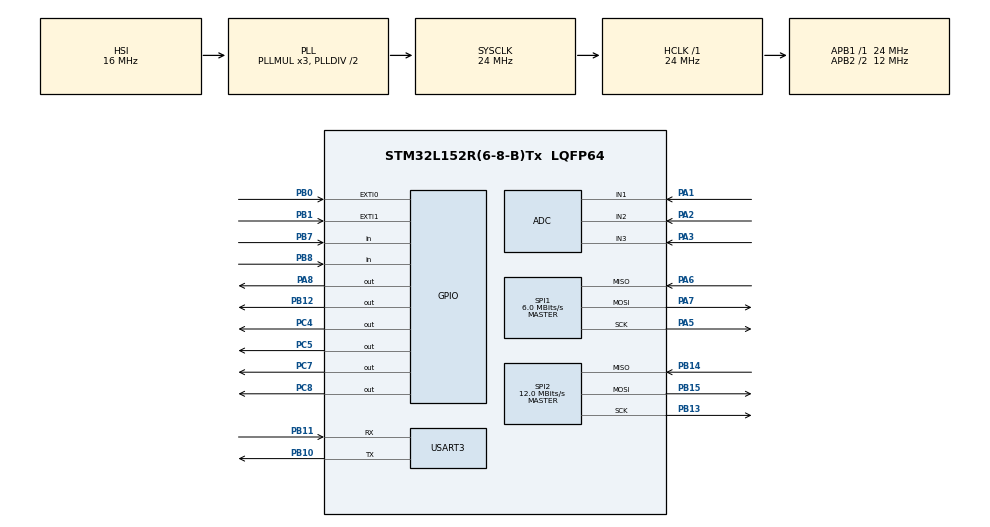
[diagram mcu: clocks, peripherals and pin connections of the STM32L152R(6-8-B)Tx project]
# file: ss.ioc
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ADC.Channel-0\#ChannelRegularConversion=ADC_CHANNEL_1
ADC.ContinuousConvMode=ENABLE
ADC.LowPowerAutoPowerOff=ADC_AUTOPOWEROFF_IDLE_DELAY_PHASES
ADC.LowPowerAutoWait=ADC_AUTOWAIT_UNTIL_DATA_READ
ADC.NbrOfConversionFlag=1
ADC.Rank-0\#ChannelRegularConversion=1
ADC.SamplingTime-0\#ChannelRegularConversion=ADC_SAMPLETIME_4CYCLES
IWDG.Prescaler=IWDG_PRESCALER_256
IWDG.Reload=4095
Mcu.Family=STM32L1
Mcu.Name=STM32L152R(6-8-B)Tx
Mcu.Package=LQFP64
NVIC.EXTI0_IRQn=true\:0\:0\:false\:false\:true\:true
NVIC.EXTI1_IRQn=true\:0\:0\:false\:false\:true\:true
NVIC.PriorityGroup=NVIC_PRIORITYGROUP_4
NVIC.RTC_WKUP_IRQn=true\:0\:0\:false\:false\:true\:true
NVIC.TIM2_IRQn=true\:0\:0\:false\:false\:true\:true
NVIC.TIM4_IRQn=true\:0\:0\:false\:false\:true\:true
NVIC.USART3_IRQn=true\:0\:0\:false\:false\:true\:true
PA1.Mode=IN1
PA1.Signal=ADC_IN1
PA2.Mode=IN2
PA2.Signal=ADC_IN2
PA3.Mode=IN3
PA3.Signal=ADC_IN3
PA5.Mode=Full_Duplex_Master
PA5.Signal=SPI1_SCK
PA6.Mode=Full_Duplex_Master
PA6.Signal=SPI1_MISO
PA7.Mode=Full_Duplex_Master
PA7.Signal=SPI1_MOSI
PA8.PinState=GPIO_PIN_SET
PA8.Signal=GPIO_Output
PB0.GPIO_ModeDefaultEXTI=GPIO_MODE_IT_FALLING
PB0.GPIO_PuPd=GPIO_PULLUP
PB0.Signal=GPXTI0
PB1.GPIO_ModeDefaultEXTI=GPIO_MODE_IT_FALLING
PB1.GPIO_PuPd=GPIO_PULLUP
PB1.Signal=GPXTI1
PB10.Mode=Asynchronous
PB10.Signal=USART3_TX
PB11.Mode=Asynchronous
PB11.Signal=USART3_RX
PB12.Signal=GPIO_Output
PB13.Mode=Full_Duplex_Master
PB13.Signal=SPI2_SCK
PB14.Mode=Full_Duplex_Master
PB14.Signal=SPI2_MISO
PB15.Mode=Full_Duplex_Master
PB15.Signal=SPI2_MOSI
PB7.GPIO_PuPd=GPIO_PULLUP
PB7.Signal=GPIO_Input
PB8.GPIO_PuPd=GPIO_PULLUP
PB8.Signal=GPIO_Input
PC14-OSC32_IN.Mode=LSE-External-Oscillator
PC14-OSC32_IN.Signal=RCC_OSC32_IN
PC15-OSC32_OUT.Mode=LSE-External-Oscillator
PC15-OSC32_OUT.Signal=RCC_OSC32_OUT
PC4.PinState=GPIO_PIN_SET
PC4.Signal=GPIO_Output
PC5.Signal=GPIO_Output
PC7.GPIO_PuPd=GPIO_PULLUP
PC7.Signal=GPIO_Output
PC8.GPIO_PuPd=GPIO_PULLUP
PC8.Signal=GPIO_Output
ProjectManager.HeapSize=0x200
ProjectManager.StackSize=0x400
ProjectManager.TargetToolchain=MDK-ARM V5
RCC.AHBFreq_Value=24000000
RCC.APB1Freq_Value=24000000
RCC.APB1TimFreq_Value=24000000
RCC.APB2CLKDivider=RCC_HCLK_DIV2
RCC.APB2Freq_Value=12000000
RCC.APB2TimFreq_Value=24000000
RCC.HCLKFreq_Value=24000000
RCC.HSE_VALUE=24000000
RCC.HSI_VALUE=16000000
RCC.MSI_VALUE=2097000
RCC.SYSCLKFreq_VALUE=24000000
RCC.SYSCLKSource=RCC_SYSCLKSOURCE_PLLCLK
RCC.VCOOutputFreq_Value=48000000
RTC.WakeUpClock-WakeUp=RTC_WAKEUPCLOCK_CK_SPRE_16BITS
RTC.WakeUpCounter-WakeUp=5
SPI1.BaudRatePrescaler=SPI_BAUDRATEPRESCALER_2
SPI1.CLKPhase=SPI_PHASE_2EDGE
SPI1.CLKPolarity=SPI_POLARITY_HIGH
SPI1.CalculateBaudRate=6.0 MBits/s
SPI1.Direction=SPI_DIRECTION_2LINES
SPI1.Mode=SPI_MODE_MASTER
SPI1.VirtualType=VM_MASTER
SPI2.CalculateBaudRate=12.0 MBits/s
SPI2.Direction=SPI_DIRECTION_2LINES
SPI2.Mode=SPI_MODE_MASTER
SPI2.VirtualType=VM_MASTER
TIM2.Period=1599
TIM2.Prescaler=9999
TIM4.ClockDivision=TIM_CLOCKDIVISION_DIV1
TIM4.Period=2000
TIM4.Prescaler=1599
USART3.VirtualMode=VM_ASYNC
VP_IWDG_VS_IWDG.Mode=IWDG_Activate
VP_RTC_VS_RTC_Activate.Mode=RTC_Enabled
VP_RTC_VS_RTC_Calendar.Mode=RTC_Calendar
VP_RTC_VS_RTC_WakeUp_intern.Mode=WakeUp
VP_TIM2_VS_ClockSourceINT.Mode=Internal
VP_TIM4_VS_ClockSourceINT.Mode=Internal
board=custom

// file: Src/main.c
/* USER CODE BEGIN Header */
/**
  ******************************************************************************
  * @file           : main.c
  * @brief          : Main program body
  ******************************************************************************
  ** This notice applies to any and all portions of this file
  * that are not between comment pairs USER CODE BEGIN and
  * USER CODE END. Other portions of this file, whether
  * inserted by the user or by software development tools
  * are owned by their respective copyright owners.
  *
  * COPYRIGHT(c) 2019 STMicroelectronics
  *
  * Redistribution and use in source and binary forms, with or without modification,
  * are permitted provided that the following conditions are met:
  *   1. Redistributions of source code must retain the above copyright notice,
  *      this list of conditions and the following disclaimer.
  *   2. Redistributions in binary form must reproduce the above copyright notice,
  *      this list of conditions and the following disclaimer in the documentation
  *      and/or other materials provided with the distribution.
  *   3. Neither the name of STMicroelectronics nor the names of its contributors
  *      may be used to endorse or promote products derived from this software
  *      without specific prior written permission.
  *
  * THIS SOFTWARE IS PROVIDED BY THE COPYRIGHT HOLDERS AND CONTRIBUTORS "AS IS"
  * AND ANY EXPRESS OR IMPLIED WARRANTIES, INCLUDING, BUT NOT LIMITED TO, THE
  * IMPLIED WARRANTIES OF MERCHANTABILITY AND FITNESS FOR A PARTICULAR PURPOSE ARE
  * DISCLAIMED. IN NO EVENT SHALL THE COPYRIGHT HOLDER OR CONTRIBUTORS BE LIABLE
  * FOR ANY DIRECT, INDIRECT, INCIDENTAL, SPECIAL, EXEMPLARY, OR CONSEQUENTIAL
  * DAMAGES (INCLUDING, BUT NOT LIMITED TO, PROCUREMENT OF SUBSTITUTE GOODS OR
  * SERVICES; LOSS OF USE, DATA, OR PROFITS; OR BUSINESS INTERRUPTION) HOWEVER
  * CAUSED AND ON ANY THEORY OF LIABILITY, WHETHER IN CONTRACT, STRICT LIABILITY,
  * OR TORT (INCLUDING NEGLIGENCE OR OTHERWISE) ARISING IN ANY WAY OUT OF THE USE
  * OF THIS SOFTWARE, EVEN IF ADVISED OF THE POSSIBILITY OF SUCH DAMAGE.
  *
  ******************************************************************************
  */
/* USER CODE END Header */

#include "main.h"

/* USER CODE BEGIN Includes */
#include "rtc.h"
#include "m25p64.h"
#include "Flash_BSP.h"
#include<string.h>
#define GLOBALS
#include "global.h"
#include "adc.h"
#include "other.h"
#include "CC1110.h"
#include "spi.h"
#include "flash.h"
#include "infrared.h"
#include "oled.h"
#define Select_OLED       HAL_GPIO_WritePin(GPIOB, GPIO_PIN_2, GPIO_PIN_RESET);

/***************************预编译注意*****************************
在编译选择传感器类型时，在编译器Options For Target里的宏定义里修改
/***************************传感器变量相关****************************/
extern uint32_t CV_Value[5];
//***************************传感器编译相关**************************/
#ifdef  Liceng
uint8_t Senor_Type=0xE1;
#elif   Maogan
uint8_t Senor_Type=0xE2;
#elif   Maosuo
uint8_t Senor_Type=0xE3;
#elif   Weiyan
uint8_t Senor_Type=0xE4;
#elif   Yali
uint8_t Senor_Type=0xE5;
#endif
extern void LCD_P6x8Str(unsigned char x, unsigned char y,unsigned char ch[]);
extern void LCD_P8x16Str(unsigned char x, unsigned char y,unsigned char ch[]);
extern void LCD_P16x16Ch(unsigned char x, unsigned char y, unsigned char N, const unsigned char * ch);

/**********************传感器数据存取相关**************************/
uint32_t Flash_Read_Buff[4],Flash_Write_Buff[4];
uint32_t ID_Read_Buff[4],ID_Write_Buff[4];
/**************************定时计数相关****************************/
extern uint8_t Timer;
/**************************红外相关*************************/
uint8_t  SET_START,curse_ok;
uint8_t curse=0x28,curse_base=0x04,curse_tmp=0x00;
uint32_t k_code=0x00000000;
uint8_t Senor_IDNUM_Temp=0;
SENOR *pObj;
typedef void MENU_CALLBK(SENOR *pObj);
void Infrared_Fun(SENOR *pObj,MENU_CALLBK *_cbm,MENU_CALLBK *_cbo);
extern unsigned char Infrared_Status;
/**************************功能函数*************************/
extern WPStatus CC1100_WAKEUP_Flag;
extern int xinxi;
extern WPStatus PD_WAKEUP_Flag;
void SendMsg_Int(CC1110Tx_Msg *pMsg,SENOR *pObj);
void AD_Smapling_Function(SENOR *pObj);
void PD_WAKEUP_Int(void);
void AD_Display_Function(SENOR *pObj);
void SPI_ConfigurationOLED(void);
SENOR SenMsg;
extern unsigned char fd0[];
extern unsigned char fd1[];
extern unsigned char fd2[];
extern unsigned char BMP[];
char r[5];
char CV1[5];
char CV11[5];
char CV2[5];
char CV22[5];
char CV3[5];
char CV33[5];
uint32_t VVV1;
uint32_t VVV11;
uint32_t VVV2;
uint32_t VVV22;
uint32_t VVV3;
uint32_t VVV33;
void CC1110_Sendd(void);
void CC1110_Senddata(void);
void CC1110_Sendnum(void);
void CC1110_Senddd(void);
void CC1110_Sendbianhao(void);
void peizhiwuxian(void);
extern uint8_t vid1,vid2,vid3,vid4,oldid,newid;
//数据显示转换部分
char *itoa(int value, char *string, int radix)
{
    int     i, d;
    int     flag = 0;
    char    *ptr = string;
    /* This implementation only works for decimal numbers. */
    if (radix != 10)
    {
        *ptr = 0;
        return string;
    }
    if (!value)
    {
        *ptr++ = 0x30;
        *ptr = 0;
        return string;
    }
    /* if this is a negative value insert the minus sign. */
    if (value < 0)
    {
        *ptr++ = '-';

        /* Make the value positive. */
        value *= -1;
    }
    for (i = 10000; i > 0; i /= 10)
    {
        d = value / i;

        if (d || flag)
        {
            *ptr++ = (char)(d + 0x30);
            value -= (d * i);
            flag = 1;
        }
    }
    /* Null terminate the string. */
    *ptr = 0;
    return string;
} /* NCL_Itoa */
/**************************************************************
函数：void SendMsg_Int(CC1110Tx_Msg *pMsg,SENOR *pObj)
功能：无线发送初始信息
**************************************************************/
void SendMsg_Int(CC1110Tx_Msg *pMsg,SENOR *pObj)
{
    int j;
    memset(pMsg->Invalid,0xFE,5);
    pMsg->Start_Flag=0xAA;
    pMsg->ID=pObj->Senor_ID;
    pMsg->Type=Senor_Type;
    pMsg->Channel=pObj->Senor_Num;
    pMsg->Battery_Power =Battery_Monitor();
    pMsg->End_Flag=0x55;
    FLASH_Read(((uint32_t)0x08080020),((uint32_t)0x08080030),CV_Value);
    for(j=0; j<4; j++)
    {
    //    pMsg->T_Data_H[j]=(uint8_t)CV_Value[j]>>8;
    //    pMsg->T_Data_L[j]=(uint8_t)CV_Value[j]&0x00000ff;
			pMsg->T_Data_H[j]=0x00;//55
			pMsg->T_Data_L[j]=0x04;//99
    }
}
/* USER CODE END Includes */

/* USER CODE BEGIN PD */
uint32_t  fac_id;
unsigned char txbuffer[16];
unsigned char rxbuffer[16];
u8 *SpiFlashReadBuffer;
extern unsigned char rtc_wakeup_flag;
/* USER CODE END PD */

/* USER CODE BEGIN PM */
extern unsigned char M25PXX_BUFFER[1024];
extern uint32_t WriteAddressPostion;
RTC_SetTypeDef RTC_SetStructure;
RTC_TimeDateTypeDef  RTC_TimeDateStructure2;
/* USER CODE END PM */

ADC_HandleTypeDef hadc;

IWDG_HandleTypeDef hiwdg;

RTC_HandleTypeDef hrtc;

SPI_HandleTypeDef hspi1;
SPI_HandleTypeDef hspi2;

TIM_HandleTypeDef htim2;
TIM_HandleTypeDef htim4;

UART_HandleTypeDef huart3;

void SystemClock_Config(void);
static void MX_GPIO_Init(void);
static void MX_SPI1_Init(void);
static void MX_RTC_Init(void);
static void MX_IWDG_Init(void);
static void MX_TIM2_Init(void);
static void MX_TIM4_Init(void);
static void MX_ADC_Init(void);
static void MX_USART3_UART_Init(void);
static void MX_SPI2_Init(void);

/* USER CODE BEGIN 0 */
u32 addr;
/* USER CODE END 0 */

int main(void)
{
  /* USER CODE BEGIN 1 */
	u16 j,i;

  /* USER CODE END 1 */

  /* MCU Configuration--------------------------------------------------------*/

  /* Reset of all peripherals, Initializes the Flash interface and the Systick. */
  HAL_Init();

  /* Configure the system clock */
  SystemClock_Config();

  /* Initialize all configured peripherals */
  MX_GPIO_Init();
  MX_SPI1_Init();
  MX_RTC_Init();
  //MX_IWDG_Init();
  MX_TIM2_Init();
  MX_TIM4_Init();
  MX_ADC_Init();
  MX_USART3_UART_Init();
  MX_SPI2_Init();
  /* USER CODE BEGIN 2 */
	//HAL_PWR_EnterSTOPMode
	CC1110Tx_Msg TxMessage;
	// PWR_FastWakeUpCmd(ENABLE);//唤醒片内正常工作电源
	HAL_PWREx_EnableFastWakeUp();
	__HAL_RCC_PWR_CLK_ENABLE();
	//RCC_APB1PeriphClockCmd(RCC_APB1Periph_PWR, ENABLE);//片内电源管理的时钟---使能
	HAL_PWREx_EnableUltraLowPower();//配置低电源使能
	CC1100_WAKEUP_Flag=Low;
	PD_WAKEUP_Flag=Low;

	NVIC_Config();
	HAL_RCC_DeInit();
	//EnterLowPower();
	SenMsg.Senor_ID=1;
	SenMsg.Senor_Num=4;
	ControlGPIO_Initt();
	//GPIO_SetBits(GPIOC,GPIO_Pin_8);//拉高
	//GPIO_ResetBits(GPIOC,GPIO_Pin_7);//拉低
	HAL_GPIO_WritePin(GPIOC, GPIO_PIN_8, GPIO_PIN_SET);
	HAL_GPIO_WritePin(GPIOC, GPIO_PIN_7, GPIO_PIN_RESET);
	SPI_Configuration();
	Select_OLED

	ID_Write_Buff[0]=0x01;
	ID_Write_Buff[1]=0x00;
	ID_Write_Buff[2]=0x40;
	ID_Write_Buff[3]=0x0B;
	FLASH_Write(((uint32_t)0x08080040),((uint32_t)0x08080050),ID_Write_Buff);

	Flash_Write_Buff[0]=0x000000AA;
	Flash_Write_Buff[1]=0x0B;
	Flash_Write_Buff[2]=pObj->Senor_Num;
	Flash_Write_Buff[3]=0x00000055;
	FLASH_Write(((uint32_t)0x08080000),((uint32_t)0x08080010),Flash_Write_Buff);

	//设置时间为2019年1月2日第3周，上午10时12分4秒

	RTC_SetStructure.year =0x19;
	RTC_SetStructure.month = 0x01;
	RTC_SetStructure.date = 0x02;
	RTC_SetStructure.week = 0x03;
	RTC_SetStructure.hour = 0x10;
	RTC_SetStructure.minute =0x12;
	RTC_SetStructure.second =0x04;
	RTC_SetStructure.wakeup_time = 0x05;//以秒为单位，当前为5s
	SYS_RTCInit(RTC_SetStructure);
	HAL_GPIO_WritePin(GPIOC, GPIO_PIN_4, GPIO_PIN_SET);
	while(fac_id!=M25P32)
	fac_id=M25PXX_ReadID();
	for(i=1;i<17;i++)
	txbuffer[i-1]=i;
	// txbuffer[15] = 0xa5;
	//M25PXX_Erase_Chip();//测试时用，正常工作时屏蔽该功能
  /* USER CODE END 2 */

  /* Infinite loop */
  while (1)
  {

    /* USER CODE BEGIN 3 */
		RTC_TimeDateStructure2=RTC_GetTimeDate();
		txbuffer[0] = RTC_TimeDateStructure2.year;
		txbuffer[1] = RTC_TimeDateStructure2.month;
		txbuffer[2] = RTC_TimeDateStructure2.date;
		txbuffer[3] = RTC_TimeDateStructure2.hour;
		txbuffer[4] = RTC_TimeDateStructure2.minute;
		txbuffer[5] = RTC_TimeDateStructure2.second;

    //memcpy(&txbuffer[6],adcvalue,3);	//拷贝adc数据到buffer中

		/***************************************************************************************
		    spi flash可以进行扇区擦除和整片擦除操作
		    spi flash存储结构：
														sectors counts：64
														sector：256pages
														page：256 bytes

				验证spi flash通信是否正常,地址范围0-0x3fffff
				WriteAddressPostion表明当前spi flash存储数据的数量，该变量保存在cpu内部flash中
				M25PXX_BUFFER,从spi flash中读取的数据按顺序保存在该数组中
		****************************************************************************************/

		HAL_IWDG_Refresh(&hiwdg);
		SPI_FLASH_Write(txbuffer,0,9);//地址可以不指定，驱动中地址自动递增
		if( Read_AddressWrite()>=0x400000)//flash存满，采取整片擦除操作
		{
			M25PXX_Erase_Chip();
			WriteAddressPostion	= 0;
      //增加内部flash写函数保存WriteAddressPostion
		}
		SPI_FLASH_READ(SpiFlashReadBuffer,WriteAddressPostion,9);//读spi flash数据缓存在M25PXX_BUFFER中

//		for(j=0;j<64;j++)
//		{
//			for(i=0;i<256;i++)
//			{
//				SPI_FLASH_READ(SpiFlashReadBuffer,addr,16);
//				SPI_FLASH_Write(txbuffer,addr,16);
//				SPI_FLASH_READ(SpiFlashReadBuffer,addr,16);
//				addr = addr +256;
//			}
//			M25PXX_Erase_Sector(i*256*256);
//
//		}

		EnterLowPower();

		//Wake_Config();
		Bsp_Config();
		//PD_WAKEUP_Flag=Low;

		/******************初始读取flash 传感器ID和探头数量*********************/
		FLASH_Read(((uint32_t)0x08080000),((uint32_t)0x08080010),Flash_Read_Buff);

		if(*Flash_Read_Buff==0x000000AA&&*(Flash_Read_Buff+3)==0x00000055)
		{
			SenMsg.Senor_ID=*(Flash_Read_Buff+1);
			SenMsg.Senor_Num=*(Flash_Read_Buff+2);
		}
		/*********如果是无光则发送 发送后无线模块进入待机，主板开始采集存储后待机*******/
		if((PD_WAKEUP_Flag<<1|CC1100_WAKEUP_Flag)==1)
		{
			PD_WAKEUP_Int();
			CC1110_Config((uint32_t)115200);
			SendMsg_Int(&TxMessage,&SenMsg);
			CC1110_Send_Flag=1;
			if(CC1110_Send_Flag!=Low)
			{
				if(xinxi==1)
				{
				//CC1110_Sendd();
					xinxi=0;
				}
				CC1110_Send_Flag=Low;
			}

			AD_Smapling_Function(&SenMsg);
			CC1100_WAKEUP_Flag=Low;
			PD_WAKEUP_Flag=Low;
			//ControlGPIO_Init();
			HAL_GPIO_WritePin(GPIOC, GPIO_PIN_8, GPIO_PIN_SET);
			//GPIO_SetBits(GPIOC,GPIO_Pin_8);
			//delay_ms(200);delay_ms(200);
		}
		else if((PD_WAKEUP_Flag<<1|CC1100_WAKEUP_Flag)==2)//||rtc_wakeup_flag
		{
			PD_WAKEUP_Int();
			Timer=0;
			SPI_Configuration();
			Select_OLED

			LCD_Init();
			LCD_CLS();
			LCD_P16x16Ch(36,0,2,fd0);
			FLASH_Read(((uint32_t)0x08080000),((uint32_t)0x08080010),Flash_Read_Buff);
			FLASH_Read(((uint32_t)0x08080020),((uint32_t)0x08080030),CV_Value);

			AD_Smapling_Function(&SenMsg);
			SenMsg.Senor_ID=Flash_Read_Buff[1];
			pObj->Senor_ID=SenMsg.Senor_ID;
			Senor_IDNUM_Temp=pObj->Senor_ID;
			*itoa(Senor_IDNUM_Temp,r,10);//
			LCD_P8x16Str(86,0,r);
			LCD_P16x16Ch(0,3,8,fd1);

			VVV1=CV_Value[0]/10;
			VVV11=CV_Value[0]%10;
			*itoa(VVV1,CV1,10);
			if(VVV1>9)
			{
				LCD_P8x16Str(18,6,CV1);
				LCD_P6x8Str(34,7,".");
				*itoa(VVV11,CV11,10);
				LCD_P8x16Str(39,6,CV11);
			}
			else
			{
				LCD_P8x16Str(21,6,CV1);
				LCD_P6x8Str(29,7,".");
				*itoa(VVV11,CV11,10);
				LCD_P8x16Str(34,6,CV11);
			}

			VVV2=CV_Value[1]/10;
			VVV22=CV_Value[1]%10;
			*itoa(VVV2,CV2,10);//
			if(VVV2>9)
			{
				LCD_P8x16Str(81,6,CV2);
				LCD_P6x8Str(97,7,".");
				*itoa(VVV22,CV22,10);
				LCD_P8x16Str(102,6,CV22);
			}
			else
			{
				LCD_P8x16Str(84,6,CV2);
				LCD_P6x8Str(92,7,".");
				*itoa(VVV22,CV22,10);
				LCD_P8x16Str(97,6,CV22);
			}

			//           VVV3=CV_Value[2]/10;
			//					 VVV33=CV_Value[2]%10;
			//           *itoa(VVV3,CV3,10);//
			//    			 if(VVV3>9)
			//						{
			//              LCD_P8x16Str(99,6,CV3);
			//					    LCD_P6x8Str(115,7,".");
			//					    *itoa(VVV33,CV33,10);
			//					    LCD_P8x16Str(120,6,CV33);
			//						}
			//					else
			//					  {
			//						  LCD_P8x16Str(102,6,CV3);
			//					    LCD_P6x8Str(110,7,".");
			//					    *itoa(VVV33,CV33,10);
			//					    LCD_P8x16Str(115,6,CV33);
			//						}

			delay_ms(200);delay_ms(200);delay_ms(200);delay_ms(200);delay_ms(200);delay_ms(200);
			delay_ms(200);delay_ms(200);delay_ms(200);delay_ms(200);delay_ms(200);delay_ms(200);

			//AD_Display_Function(&SenMsg);
			PD_WAKEUP_Flag=Low;
			CC1100_WAKEUP_Flag=Low;
			LCD_CLS();
			Power_Control(Power_OFF);        //关闭传感器电源
			//LED_Display_Clear();             //清屏
			LED_Control(Power_OFF);          //关闭数码管电源
		}
	}
  /* USER CODE END 3 */
}

void SystemClock_Config(void)
{
  RCC_OscInitTypeDef RCC_OscInitStruct = {0};
  RCC_ClkInitTypeDef RCC_ClkInitStruct = {0};
  RCC_PeriphCLKInitTypeDef PeriphClkInit = {0};

  /**Configure the main internal regulator output voltage
  */
  __HAL_PWR_VOLTAGESCALING_CONFIG(PWR_REGULATOR_VOLTAGE_SCALE1);
  /**Initializes the CPU, AHB and APB busses clocks
  */
  RCC_OscInitStruct.OscillatorType = RCC_OSCILLATORTYPE_HSI|RCC_OSCILLATORTYPE_LSI;
  RCC_OscInitStruct.HSIState = RCC_HSI_ON;
  RCC_OscInitStruct.HSICalibrationValue = RCC_HSICALIBRATION_DEFAULT;
  RCC_OscInitStruct.LSIState = RCC_LSI_ON;
  RCC_OscInitStruct.PLL.PLLState = RCC_PLL_ON;
  RCC_OscInitStruct.PLL.PLLSource = RCC_PLLSOURCE_HSI;
  RCC_OscInitStruct.PLL.PLLMUL = RCC_PLL_MUL3;
  RCC_OscInitStruct.PLL.PLLDIV = RCC_PLL_DIV2;
  if (HAL_RCC_OscConfig(&RCC_OscInitStruct) != HAL_OK)
  {
    Error_Handler();
  }
  /**Initializes the CPU, AHB and APB busses clocks
  */
  RCC_ClkInitStruct.ClockType = RCC_CLOCKTYPE_HCLK|RCC_CLOCKTYPE_SYSCLK
                              |RCC_CLOCKTYPE_PCLK1|RCC_CLOCKTYPE_PCLK2;
  RCC_ClkInitStruct.SYSCLKSource = RCC_SYSCLKSOURCE_PLLCLK;
  RCC_ClkInitStruct.AHBCLKDivider = RCC_SYSCLK_DIV1;
  RCC_ClkInitStruct.APB1CLKDivider = RCC_HCLK_DIV1;
  RCC_ClkInitStruct.APB2CLKDivider = RCC_HCLK_DIV2;

  if (HAL_RCC_ClockConfig(&RCC_ClkInitStruct, FLASH_LATENCY_1) != HAL_OK)
  {
    Error_Handler();
  }
  PeriphClkInit.PeriphClockSelection = RCC_PERIPHCLK_RTC;
  PeriphClkInit.RTCClockSelection = RCC_RTCCLKSOURCE_LSI;
  if (HAL_RCCEx_PeriphCLKConfig(&PeriphClkInit) != HAL_OK)
  {
    Error_Handler();
  }
}

static void MX_ADC_Init(void)
{

  ADC_ChannelConfTypeDef sConfig = {0};

  /**Configure the global features of the ADC (Clock, Resolution, Data Alignment and number of conversion)
  */
  hadc.Instance = ADC1;
  hadc.Init.ClockPrescaler = ADC_CLOCK_ASYNC_DIV1;
  hadc.Init.Resolution = ADC_RESOLUTION_12B;
  hadc.Init.DataAlign = ADC_DATAALIGN_RIGHT;
  hadc.Init.ScanConvMode = ADC_SCAN_DISABLE;
  hadc.Init.EOCSelection = ADC_EOC_SEQ_CONV;
  hadc.Init.LowPowerAutoWait = ADC_AUTOWAIT_UNTIL_DATA_READ;
  hadc.Init.LowPowerAutoPowerOff = ADC_AUTOPOWEROFF_IDLE_DELAY_PHASES;
  hadc.Init.ChannelsBank = ADC_CHANNELS_BANK_A;
  hadc.Init.ContinuousConvMode = ENABLE;
  hadc.Init.NbrOfConversion = 1;
  hadc.Init.DiscontinuousConvMode = DISABLE;
  hadc.Init.ExternalTrigConv = ADC_SOFTWARE_START;
  hadc.Init.ExternalTrigConvEdge = ADC_EXTERNALTRIGCONVEDGE_NONE;
  hadc.Init.DMAContinuousRequests = DISABLE;
  if (HAL_ADC_Init(&hadc) != HAL_OK)
  {
    Error_Handler();
  }
  /**Configure for the selected ADC regular channel its corresponding rank in the sequencer and its sample time.
  */
  sConfig.Channel = ADC_CHANNEL_1;
  sConfig.Rank = ADC_REGULAR_RANK_1;
  sConfig.SamplingTime = ADC_SAMPLETIME_4CYCLES;
  if (HAL_ADC_ConfigChannel(&hadc, &sConfig) != HAL_OK)
  {
    Error_Handler();
  }

}

static void MX_IWDG_Init(void)
{

  hiwdg.Instance = IWDG;
  hiwdg.Init.Prescaler = IWDG_PRESCALER_256;
  hiwdg.Init.Reload = 4095;
  if (HAL_IWDG_Init(&hiwdg) != HAL_OK)
  {
    Error_Handler();
  }

}

static void MX_RTC_Init(void)
{

  RTC_TimeTypeDef sTime = {0};
  RTC_DateTypeDef sDate = {0};

  /**Initialize RTC Only
  */
  hrtc.Instance = RTC;
  hrtc.Init.HourFormat = RTC_HOURFORMAT_24;
  hrtc.Init.AsynchPrediv = 127;
  hrtc.Init.SynchPrediv = 255;
  hrtc.Init.OutPut = RTC_OUTPUT_DISABLE;
  hrtc.Init.OutPutPolarity = RTC_OUTPUT_POLARITY_HIGH;
  hrtc.Init.OutPutType = RTC_OUTPUT_TYPE_OPENDRAIN;
  if (HAL_RTC_Init(&hrtc) != HAL_OK)
  {
    Error_Handler();
  }

  /**Initialize RTC and set the Time and Date
  */
  sTime.Hours = 0x0;
  sTime.Minutes = 0x0;
  sTime.Seconds = 0x0;
  sTime.DayLightSaving = RTC_DAYLIGHTSAVING_NONE;
  sTime.StoreOperation = RTC_STOREOPERATION_RESET;
  if (HAL_RTC_SetTime(&hrtc, &sTime, RTC_FORMAT_BCD) != HAL_OK)
  {
    Error_Handler();
  }
  sDate.WeekDay = RTC_WEEKDAY_MONDAY;
  sDate.Month = RTC_MONTH_JANUARY;
  sDate.Date = 0x1;
  sDate.Year = 0x0;

  if (HAL_RTC_SetDate(&hrtc, &sDate, RTC_FORMAT_BCD) != HAL_OK)
  {
    Error_Handler();
  }
  /**Enable the WakeUp
  */
  if (HAL_RTCEx_SetWakeUpTimer_IT(&hrtc, 5, RTC_WAKEUPCLOCK_CK_SPRE_16BITS) != HAL_OK)
  {
    Error_Handler();
  }

}

static void MX_SPI1_Init(void)
{

  /* SPI1 parameter configuration*/
  hspi1.Instance = SPI1;
  hspi1.Init.Mode = SPI_MODE_MASTER;
  hspi1.Init.Direction = SPI_DIRECTION_2LINES;
  hspi1.Init.DataSize = SPI_DATASIZE_8BIT;
  hspi1.Init.CLKPolarity = SPI_POLARITY_HIGH;
  hspi1.Init.CLKPhase = SPI_PHASE_2EDGE;
  hspi1.Init.NSS = SPI_NSS_SOFT;
  hspi1.Init.BaudRatePrescaler = SPI_BAUDRATEPRESCALER_2;
  hspi1.Init.FirstBit = SPI_FIRSTBIT_MSB;
  hspi1.Init.TIMode = SPI_TIMODE_DISABLE;
  hspi1.Init.CRCCalculation = SPI_CRCCALCULATION_DISABLE;
  hspi1.Init.CRCPolynomial = 10;
  if (HAL_SPI_Init(&hspi1) != HAL_OK)
  {
    Error_Handler();
  }

}

static void MX_SPI2_Init(void)
{

  /* SPI2 parameter configuration*/
  hspi2.Instance = SPI2;
  hspi2.Init.Mode = SPI_MODE_MASTER;
  hspi2.Init.Direction = SPI_DIRECTION_2LINES;
  hspi2.Init.DataSize = SPI_DATASIZE_8BIT;
  hspi2.Init.CLKPolarity = SPI_POLARITY_LOW;
  hspi2.Init.CLKPhase = SPI_PHASE_1EDGE;
  hspi2.Init.NSS = SPI_NSS_SOFT;
  hspi2.Init.BaudRatePrescaler = SPI_BAUDRATEPRESCALER_2;
  hspi2.Init.FirstBit = SPI_FIRSTBIT_MSB;
  hspi2.Init.TIMode = SPI_TIMODE_DISABLE;
  hspi2.Init.CRCCalculation = SPI_CRCCALCULATION_DISABLE;
  hspi2.Init.CRCPolynomial = 10;
  if (HAL_SPI_Init(&hspi2) != HAL_OK)
  {
    Error_Handler();
  }

}

static void MX_TIM2_Init(void)
{

  TIM_ClockConfigTypeDef sClockSourceConfig = {0};
  TIM_MasterConfigTypeDef sMasterConfig = {0};

  htim2.Instance = TIM2;
  htim2.Init.Prescaler = 9999;
  htim2.Init.CounterMode = TIM_COUNTERMODE_UP;
  htim2.Init.Period = 1599;
  htim2.Init.ClockDivision = TIM_CLOCKDIVISION_DIV1;
  if (HAL_TIM_Base_Init(&htim2) != HAL_OK)
  {
    Error_Handler();
  }
  sClockSourceConfig.ClockSource = TIM_CLOCKSOURCE_INTERNAL;
  if (HAL_TIM_ConfigClockSource(&htim2, &sClockSourceConfig) != HAL_OK)
  {
    Error_Handler();
  }
  sMasterConfig.MasterOutputTrigger = TIM_TRGO_RESET;
  sMasterConfig.MasterSlaveMode = TIM_MASTERSLAVEMODE_DISABLE;
  if (HAL_TIMEx_MasterConfigSynchronization(&htim2, &sMasterConfig) != HAL_OK)
  {
    Error_Handler();
  }

}

static void MX_TIM4_Init(void)
{

  TIM_ClockConfigTypeDef sClockSourceConfig = {0};
  TIM_MasterConfigTypeDef sMasterConfig = {0};

  htim4.Instance = TIM4;
  htim4.Init.Prescaler = 1599;
  htim4.Init.CounterMode = TIM_COUNTERMODE_UP;
  htim4.Init.Period = 2000;
  htim4.Init.ClockDivision = TIM_CLOCKDIVISION_DIV1;
  if (HAL_TIM_Base_Init(&htim4) != HAL_OK)
  {
    Error_Handler();
  }
  sClockSourceConfig.ClockSource = TIM_CLOCKSOURCE_INTERNAL;
  if (HAL_TIM_ConfigClockSource(&htim4, &sClockSourceConfig) != HAL_OK)
  {
    Error_Handler();
  }
  sMasterConfig.MasterOutputTrigger = TIM_TRGO_RESET;
  sMasterConfig.MasterSlaveMode = TIM_MASTERSLAVEMODE_DISABLE;
  if (HAL_TIMEx_MasterConfigSynchronization(&htim4, &sMasterConfig) != HAL_OK)
  {
    Error_Handler();
  }

}

static void MX_USART3_UART_Init(void)
{

  huart3.Instance = USART3;
  huart3.Init.BaudRate = 115200;
  huart3.Init.WordLength = UART_WORDLENGTH_8B;
  huart3.Init.StopBits = UART_STOPBITS_1;
  huart3.Init.Parity = UART_PARITY_NONE;
  huart3.Init.Mode = UART_MODE_TX_RX;
  huart3.Init.HwFlowCtl = UART_HWCONTROL_NONE;
  huart3.Init.OverSampling = UART_OVERSAMPLING_16;
  if (HAL_UART_Init(&huart3) != HAL_OK)
  {
    Error_Handler();
  }

}

static void MX_GPIO_Init(void)
{
  GPIO_InitTypeDef GPIO_InitStruct = {0};

  /* GPIO Ports Clock Enable */
  __HAL_RCC_GPIOC_CLK_ENABLE();
  __HAL_RCC_GPIOA_CLK_ENABLE();
  __HAL_RCC_GPIOB_CLK_ENABLE();

  /*Configure GPIO pin Output Level */
  HAL_GPIO_WritePin(GPIOC, GPIO_PIN_4, GPIO_PIN_SET);

  /*Configure GPIO pin Output Level */
  HAL_GPIO_WritePin(GPIOC, GPIO_PIN_5|GPIO_PIN_7|GPIO_PIN_8, GPIO_PIN_RESET);

  /*Configure GPIO pin Output Level */
  HAL_GPIO_WritePin(GPIOB, GPIO_PIN_12, GPIO_PIN_RESET);

  /*Configure GPIO pin Output Level */
  HAL_GPIO_WritePin(GPIOA, GPIO_PIN_8, GPIO_PIN_SET);

  /*Configure GPIO pins : PC4 PC5 */
  GPIO_InitStruct.Pin = GPIO_PIN_4|GPIO_PIN_5;
  GPIO_InitStruct.Mode = GPIO_MODE_OUTPUT_PP;
  GPIO_InitStruct.Pull = GPIO_NOPULL;
  GPIO_InitStruct.Speed = GPIO_SPEED_FREQ_LOW;
  HAL_GPIO_Init(GPIOC, &GPIO_InitStruct);

  /*Configure GPIO pins : PB0 PB1 */
  GPIO_InitStruct.Pin = GPIO_PIN_0|GPIO_PIN_1;
  GPIO_InitStruct.Mode = GPIO_MODE_IT_FALLING;
  GPIO_InitStruct.Pull = GPIO_PULLUP;
  HAL_GPIO_Init(GPIOB, &GPIO_InitStruct);

  /*Configure GPIO pin : PB12 */
  GPIO_InitStruct.Pin = GPIO_PIN_12;
  GPIO_InitStruct.Mode = GPIO_MODE_OUTPUT_PP;
  GPIO_InitStruct.Pull = GPIO_NOPULL;
  GPIO_InitStruct.Speed = GPIO_SPEED_FREQ_LOW;
  HAL_GPIO_Init(GPIOB, &GPIO_InitStruct);

  /*Configure GPIO pins : PC7 PC8 */
  GPIO_InitStruct.Pin = GPIO_PIN_7|GPIO_PIN_8;
  GPIO_InitStruct.Mode = GPIO_MODE_OUTPUT_PP;
  GPIO_InitStruct.Pull = GPIO_PULLUP;
  GPIO_InitStruct.Speed = GPIO_SPEED_FREQ_LOW;
  HAL_GPIO_Init(GPIOC, &GPIO_InitStruct);

  /*Configure GPIO pin : PA8 */
  GPIO_InitStruct.Pin = GPIO_PIN_8;
  GPIO_InitStruct.Mode = GPIO_MODE_OUTPUT_PP;
  GPIO_InitStruct.Pull = GPIO_NOPULL;
  GPIO_InitStruct.Speed = GPIO_SPEED_FREQ_LOW;
  HAL_GPIO_Init(GPIOA, &GPIO_InitStruct);

  /*Configure GPIO pins : PB7 PB8 */
  GPIO_InitStruct.Pin = GPIO_PIN_7|GPIO_PIN_8;
  GPIO_InitStruct.Mode = GPIO_MODE_INPUT;
  GPIO_InitStruct.Pull = GPIO_PULLUP;
  HAL_GPIO_Init(GPIOB, &GPIO_InitStruct);

  /* EXTI interrupt init*/
  HAL_NVIC_SetPriority(EXTI0_IRQn, 0, 0);
  HAL_NVIC_EnableIRQ(EXTI0_IRQn);

  HAL_NVIC_SetPriority(EXTI1_IRQn, 0, 0);
  HAL_NVIC_EnableIRQ(EXTI1_IRQn);

}

/* USER CODE BEGIN 4 */
/**************************************************************
函数：void AD_Smapling_Function(CV_VALUE(*fun)(uint16_t, uint8_t),SENSOR *pObj)
功能：当无线唤醒时AD处理程序
**************************************************************/
void AD_Smapling_Function(SENOR *pObj)
{
    uint8_t i;
    Power_Control(Power_ON);   //启动传感器供电电源
    for(i=0; i<4; i++)
    {
        delay_us(400);
        Get_ADC(i);
    }
    //Power_Control(Power_OFF);  //关闭传感器电源
    FLASH_Write(((uint32_t)0x08080020),((uint32_t)0x08080030),CV_Value);
}
/**************************************************************
函数：void PD_WAKEUP_Int(void)
功能：当光照唤醒时需要的硬件
**************************************************************/
void PD_WAKEUP_Int(void)
{
    Timer_Config(1599);          //定时1秒
    Led_Control_GPIO();
    LED_Control(Power_ON);       //数码管供电
    //SPI_Configuration();         //SPI开启
    Power_Control(Power_ON);     //探头电源开启
    Infrared_Config(2000,1599);  //红外开启
    NVIC_Config();
}
/**************************************************************
函数：static void _cboption(SENOR *pObj)
功能：红外功能
**************************************************************/
//static void _cbmenu(SENOR *pObj)
//{
//    switch(k_code)
//    {
//    case IR_Up:
//
//    case IR_Down:
//        curse_tmp=curse;
//        curse=curse_base;
//        curse_base=curse_tmp;
//        k_code=0;
//        break;
//    case IR_OK:
//        curse_ok=0xff;
//        k_code=0;
//        break;
//    case IR_Cancel:
//        curse_ok=0;
//        SET_START=0;
//        k_code=0;
//    default:
//        break;
//    }
//    if(curse==0x28)
//    {
//        Led_Display_Set(0,pObj->Senor_ID);
//        Senor_IDNUM_Temp=pObj->Senor_ID;          //初始信息
//    }
//    else if(curse==0x04)
//    {
//        Led_Display_Set(1,pObj->Senor_Num);
//        Senor_IDNUM_Temp=pObj->Senor_Num;
//    }
//}
/**************************************************************
函数：static void _cboption(SENOR *pObj)
功能：红外功能
**************************************************************/
//static void _cboption(SENOR *pObj)
//{
//    switch(k_code)
//    {
//    case IR_Up:
//        if(Senor_IDNUM_Temp<1)Senor_IDNUM_Temp=curse;
//        Senor_IDNUM_Temp--;
//        k_code=0;
//        break;
//    case IR_Down:
//        Senor_IDNUM_Temp++;
//        if(Senor_IDNUM_Temp>curse)Senor_IDNUM_Temp=1;
//        k_code=0;
//        break;
//    case IR_OK:
//        if(curse==0x28)pObj->Senor_ID=Senor_IDNUM_Temp;
//        else if(curse==0x04)pObj->Senor_Num=Senor_IDNUM_Temp;
//        Flash_Write_Buff[0]=0x000000AA;
//        Flash_Write_Buff[1]=pObj->Senor_ID;
//        Flash_Write_Buff[2]=pObj->Senor_Num;
//        Flash_Write_Buff[3]=0x00000055;
//        FLASH_Write(((uint32_t)0x08080000),((uint32_t)0x08080010),Flash_Write_Buff);
//        curse_ok=0x00;
//        k_code=0;
//        break;
//    case IR_Cancel:
//        curse_ok=0x00;
//        k_code=0;
//    default:
//        break;
//    }
//    Led_Display_Set(2,Senor_IDNUM_Temp);
//}
/**************************************************************
函数：void Infrared_Fun(SENOR *pObj)
功能：红外功能
**************************************************************/
void Infrared_Fun(SENOR *pObj,MENU_CALLBK *_cbm,MENU_CALLBK *_cbo)
{
    SET_START=1,curse_ok=0;
    while(SET_START==1)
    {
        k_code=IR_KEY_Scan();
        if(curse_ok==0x00)
        {
            _cbm(pObj);
        }
        else if(curse_ok==0xff)
        {
            _cbo(pObj);
					pObj->Senor_ID--;
		     Senor_IDNUM_Temp=pObj->Senor_ID;
         *itoa(Senor_IDNUM_Temp,r,10);//
          LCD_CLS();
         LCD_P8x16Str(56,4,r);
        }
				pObj->Senor_ID+2;
		     Senor_IDNUM_Temp=pObj->Senor_ID;
         *itoa(Senor_IDNUM_Temp,r,10);//
          LCD_CLS();
         LCD_P8x16Str(56,4,r);
    }
}
/**************************************************************
函数：void AD_Display_Function(CV_VALUE(*fun)(uint16_t, uint8_t),SENOR *pObj)
功能：当光照唤醒时AD处理程序
**************************************************************/
void AD_Display_Function(SENOR *pObj)
{
     uint32_t KEY_CODE=0;
    Timer=0;
    do {
        if(Timer>=(pObj->Senor_Num))Timer=0;
        //Led_Display_Data(Timer,CV_Value[Timer]);  //显示数据

        KEY_CODE=IR_KEY_Scan();

        if(KEY_CODE==IR_Fun1)        //如果有红外信号
        {
					LCD_CLS();
			    LCD_P16x16Ch(15,2,6,fd2);
					Senor_IDNUM_Temp=pObj->Senor_ID;
          *itoa(Senor_IDNUM_Temp,r,10);//
          LCD_P8x16Str(56,4,r);
 				}
          KEY_CODE=0;
          //Infrared_Fun(pObj,&_cbmenu,&_cboption);

					KEY_CODE=IR_KEY_Scan();

        if(KEY_CODE==IR_Up)
				{
				 pObj->Senor_ID++;
		     Senor_IDNUM_Temp=pObj->Senor_ID;
         *itoa(Senor_IDNUM_Temp,r,10);//
          LCD_CLS();
         LCD_P8x16Str(56,4,r);
				}
        else if(KEY_CODE==IR_Down)
				{
				 pObj->Senor_ID--;
		     Senor_IDNUM_Temp=pObj->Senor_ID;
         *itoa(Senor_IDNUM_Temp,r,10);//
          LCD_CLS();
         LCD_P8x16Str(56,4,r);
				}
				else if(KEY_CODE==IR_OK)
				{
		     Senor_IDNUM_Temp=pObj->Senor_ID;
         *itoa(Senor_IDNUM_Temp,r,10);//
         LCD_CLS();
         LCD_P8x16Str(56,4,r);
				 LCD_P8x16Str(56,6,"YES");

				CC1110_Config((uint32_t)9600);
				ControlGPIO_Initt();
					//LCD_P8x16Str(6,0,"Y");
			  HAL_GPIO_WritePin(GPIOC,GPIO_PIN_7,GPIO_PIN_SET);//拉高
					//LCD_P8x16Str(26,0,"E");
		       HAL_GPIO_WritePin(GPIOC,GPIO_PIN_7,GPIO_PIN_SET);//拉高  进入配置模式
					//LCD_P8x16Str(46,0,"S");
				CC1110_Senddd();delay_ms(200);
					//LCD_P8x16Str(86,0,"P");
				HAL_GPIO_WritePin(GPIOC,GPIO_PIN_7,GPIO_PIN_RESET);
				//GPIO_SetBits(GPIOC,GPIO_Pin_7);//拉低
//					delay_ms(200);delay_ms(200);delay_ms(200);delay_ms(200);delay_ms(200);delay_ms(200);delay_ms(200);delay_ms(200);delay_ms(200);delay_ms(200);
//					GPIO_SetBits(GPIOC,GPIO_Pin_7);//拉高
//					GPIO_SetBits(GPIOC,GPIO_Pin_8);//拉高  进入配置模式
//					CC1110_Sendddd();
//					GPIO_SetBits(GPIOC,GPIO_Pin_7);//拉低
	      Flash_Write_Buff[0]=0x000000AA;
        Flash_Write_Buff[1]=pObj->Senor_ID;
        Flash_Write_Buff[2]=pObj->Senor_Num;
        Flash_Write_Buff[3]=0x00000055;
        FLASH_Write(((uint32_t)0x08080000),((uint32_t)0x08080010),Flash_Write_Buff);
				}

    } while(Timer<2); //等待光照结束
    __HAL_TIM_DISABLE_IT(&htim4,TIM_IT_CC1|TIM_IT_UPDATE);
    __HAL_TIM_ENABLE_IT(&htim4,TIM_IT_UPDATE);
    //TIM2->DIER &= (uint16_t)~TIM_IT_Update;
  //  TIM4->DIER &= (uint16_t)~TIM_IT_CC1|TIM_IT_Update;
    //Power_Control(Power_OFF);        //关闭传感器电源
    //LED_Display_Clear();             //清屏
    //LED_Control(Power_OFF);          //关闭数码管电源
}

#ifdef __GNUC__
#define PUTCHAR_PROTOTYPE int __io_putchar(int ch)
#else
#define PUTCHAR_PROTOTYPE int fputc(int ch, FILE *f)
#endif

////////////SPI2接口配置/////////////////////////////////////////////////////
void SPI_ConfigurationOLED(void)
{

  GPIO_InitTypeDef GPIO_InitStruct = {0};
    __HAL_RCC_SPI2_CLK_ENABLE();

  //  __HAL_RCC_GPIOB_CLK_ENABLE();
    /**SPI2 GPIO Configuration
    PB13     ------> SPI2_SCK
    PB14     ------> SPI2_MISO
    PB15     ------> SPI2_MOSI
    */
    GPIO_InitStruct.Pin = GPIO_PIN_13|GPIO_PIN_14|GPIO_PIN_15;
    GPIO_InitStruct.Mode = GPIO_MODE_AF_PP;
    GPIO_InitStruct.Pull = GPIO_NOPULL;
    GPIO_InitStruct.Speed = GPIO_SPEED_FREQ_VERY_HIGH;
    GPIO_InitStruct.Alternate = GPIO_AF5_SPI2;
    HAL_GPIO_Init(GPIOB, &GPIO_InitStruct);

	  /* PB12--OLED RST  引脚定义 */
    GPIO_InitStruct.Pin = GPIO_PIN_12;
    GPIO_InitStruct.Mode = GPIO_MODE_OUTPUT_PP;
    GPIO_InitStruct.Pull = GPIO_NOPULL;
    GPIO_InitStruct.Speed = GPIO_SPEED_FREQ_VERY_HIGH;
   // GPIO_InitStruct.Alternate = GPIO_AF5_SPI2;
    HAL_GPIO_Init(GPIOB, &GPIO_InitStruct);
      /* PC6--OLED C/D 引脚定义 */
   GPIO_InitStruct.Pin = GPIO_PIN_6;
    GPIO_InitStruct.Mode = GPIO_MODE_OUTPUT_PP;
    GPIO_InitStruct.Pull = GPIO_NOPULL;
    GPIO_InitStruct.Speed = GPIO_SPEED_FREQ_VERY_HIGH;
    //GPIO_InitStruct.Alternate = GPIO_AF5_SPI2;
    HAL_GPIO_Init(GPIOC, &GPIO_InitStruct);
	  /* 配置SPI2 OLED片选  PB2 */
    GPIO_InitStruct.Pin = GPIO_PIN_2;
    GPIO_InitStruct.Mode = GPIO_MODE_OUTPUT_PP;
    GPIO_InitStruct.Pull = GPIO_NOPULL;
    GPIO_InitStruct.Speed = GPIO_SPEED_FREQ_VERY_HIGH;
    //GPIO_InitStruct.Alternate = GPIO_AF5_SPI2;
    HAL_GPIO_Init(GPIOB, &GPIO_InitStruct);
	  /* SPI2 Config -------------------------------------------------------------*/
  hspi2.Instance = SPI2;
  hspi2.Init.Mode = SPI_MODE_MASTER;
  hspi2.Init.Direction = SPI_DIRECTION_2LINES;
  hspi2.Init.DataSize = SPI_DATASIZE_8BIT;
  hspi2.Init.CLKPolarity = SPI_POLARITY_HIGH;
  hspi2.Init.CLKPhase = SPI_PHASE_2EDGE;
  hspi2.Init.NSS = SPI_NSS_SOFT;
  hspi2.Init.BaudRatePrescaler = SPI_BAUDRATEPRESCALER_16;
  hspi2.Init.FirstBit = SPI_FIRSTBIT_MSB;
  hspi2.Init.TIMode = SPI_TIMODE_DISABLE;
  hspi2.Init.CRCCalculation = SPI_CRCCALCULATION_DISABLE;
  hspi2.Init.CRCPolynomial = 10;
  if (HAL_SPI_Init(&hspi2) != HAL_OK)
  {
    Error_Handler();
  }
	  /* Enable SPI2 */
	//  SPI_Cmd(SPI2, ENABLE);
}
//extern uint32_t CV_Value[4];

int k=0x01;
void CC1110_Sendd(void)
{
    uint8_t h,m,l;
	  k++;

//			f = 0xff;
//			USART3->DR = (f & (uint16_t)0x01FF);
//			while((USART3->SR & 0x0040) == RESET); //发送完成标志
//
//			g = 0xfe;
//			USART3->DR = (g & (uint16_t)0x01FF);
//			while((USART3->SR & 0x0040) == RESET); //发送完成标志

//			CV_Value[3]=SenMsg.Senor_ID;
//			q = CV_Value[3];
//			USART3->DR = (q & (uint16_t)0x01FF);
//			while((USART3->SR & 0x0040) == RESET); //发送完成标志

//////						 SPI_Configuration();
//////	         Select_OLED
//////
//////					 LCD_Init();
//////					 LCD_CLS();
//////					 LCD_P16x16Ch(36,0,2,fd1);
//////delay_ms(200);delay_ms(200);delay_ms(200);delay_ms(200);delay_ms(200);delay_ms(200);

	    FLASH_Read(((uint32_t)0x08080040),((uint32_t)0x08080050),ID_Read_Buff);
			h = *ID_Read_Buff;
			 HAL_UART_Transmit(&huart3, &h, 1, 10);
			//USART3->DR = (*(ID_Read_Buff+1) & (uint16_t)0x01FF);
			//while((USART3->SR & 0x0040) == RESET); //发送完成标志
			h = *(ID_Read_Buff+1);
			 HAL_UART_Transmit(&huart3, &(h), 1, 10);
			m = *(ID_Read_Buff+2);
			//USART3->DR = (m & (uint16_t)0x01FF);
			//while((USART3->SR & 0x0040) == RESET); //发送完成标志
			HAL_UART_Transmit(&huart3, &(m), 1, 10);
			//USART3->DR = (*(ID_Read_Buff+3) & (uint16_t)0x01FF);
			//while((USART3->SR & 0x0040) == RESET); //发送完成标志
			h = *(ID_Read_Buff+3);
			HAL_UART_Transmit(&huart3, &(h), 1, 10);
			l = SenMsg.Senor_ID;
			//USART3->DR = (l & (uint16_t)0x01FF);
			//while((USART3->SR & 0x0040) == RESET); //发送完成标志
			HAL_UART_Transmit(&huart3, &(l ), 1, 10);
			//USART3->DR = (0xf1 & (uint16_t)0x01FF);
			//while((USART3->SR & 0x0040) == RESET); //发送完成标志
			l = 0xf1;
			HAL_UART_Transmit(&huart3, &(l ), 1, 10);
			//USART3->DR = (0xf2 & (uint16_t)0x01FF);
			//while((USART3->SR & 0x0040) == RESET); //发送完成标志
			l = 0xf2;
			HAL_UART_Transmit(&huart3, &(l ), 1, 10);
			//USART3->DR = (0xf3 & (uint16_t)0x01FF);
			//while((USART3->SR & 0x0040) == RESET); //发送完成标志
			l = 0xf3;
			HAL_UART_Transmit(&huart3, &(l ), 1, 10);
			//USART3->DR = (0xf4 & (uint16_t)0x01FF);
			//while((USART3->SR & 0x0040) == RESET); //发送完成标?
			l = 0xf4;
			HAL_UART_Transmit(&huart3, &(l ), 1, 10);
			//USART3->DR = (0xf5 & (uint16_t)0x01FF);
			//while((USART3->SR & 0x0040) == RESET); //发送完成标志
			l = 0xf5;
			HAL_UART_Transmit(&huart3, &(l ), 1, 10);
			//USART3->DR = (0xf6 & (uint16_t)0x01FF);
			//while((USART3->SR & 0x0040) == RESET); //发送完成标?
			l = 0xf6;
			HAL_UART_Transmit(&huart3, &(l ), 1, 10);
			//USART3->DR = (0xf7 & (uint16_t)0x01FF);
			//while((USART3->SR & 0x0040) == RESET); //发送完成标志
			l = 0xf7;
			HAL_UART_Transmit(&huart3, &(l ), 1, 10);
			//USART3->DR = (0xf8 & (uint16_t)0x01FF);
			//while((USART3->SR & 0x0040) == RESET); //发送完成标志
			l = 0xf8;
			HAL_UART_Transmit(&huart3, &(l ), 1, 10);
			//USART3->DR = (0xf9 & (uint16_t)0x01FF);
			//while((USART3->SR & 0x0040) == RESET); //发送完成标?
			l = 0xf9;
			HAL_UART_Transmit(&huart3, &(l ), 1, 10);
			//USART3->DR = (0xfe & (uint16_t)0x01FF);
			//while((USART3->SR & 0x0040) == RESET); //发送完成标志
			l = 0xfe;
			HAL_UART_Transmit(&huart3, &(l ), 1, 10);
			//USART3->DR = (0xe7 & (uint16_t)0x01FF);
			//while((USART3->SR & 0x0040) == RESET); //发送完成标志
			l = 0xe7;
			HAL_UART_Transmit(&huart3, &(l ), 1, 10);
}
//int k=0x01;
void CC1110_Senddata(void)
{
      uint8_t h,m,p,v;
	    k++;

//////					 SPI_Configuration();
//////	         Select_OLED
//////
//////					 LCD_Init();
//////					 LCD_CLS();
//////					 LCD_P16x16Ch(36,0,2,fd1);
//////delay_ms(200);delay_ms(200);delay_ms(200);delay_ms(200);delay_ms(200);delay_ms(200);
					 FLASH_Read(((uint32_t)0x08080000),((uint32_t)0x08080010),Flash_Read_Buff);
					 FLASH_Read(((uint32_t)0x08080020),((uint32_t)0x08080030),CV_Value);

					 AD_Smapling_Function(&SenMsg);

      FLASH_Read(((uint32_t)0x08080040),((uint32_t)0x08080050),ID_Read_Buff);
			//USART3->DR = (*ID_Read_Buff & (uint16_t)0x01FF);
			//while((USART3->SR & 0x0040) == RESET); //发送完成标志
			//l = 0xe7;
	    h = *(ID_Read_Buff);
			HAL_UART_Transmit(&huart3, &(h ), 1, 10);
			//USART3->DR = (*(ID_Read_Buff+1) & (uint16_t)0x01FF);
			//while((USART3->SR & 0x0040) == RESET); //发送完成标志
						h = *(ID_Read_Buff+1);
			HAL_UART_Transmit(&huart3, &(h ), 1, 10);
			//USART3->DR = (*(ID_Read_Buff+2) & (uint16_t)0x01FF);
			//while((USART3->SR & 0x0040) == RESET); //发送完成标志
				h = *(ID_Read_Buff+2);
	              HAL_UART_Transmit(&huart3, &(h ), 1, 10);
			//USART3->DR = (*(ID_Read_Buff+3) & (uint16_t)0x01FF);
			//while((USART3->SR & 0x0040) == RESET); //发送完成标志
							h = *(ID_Read_Buff+3);
			HAL_UART_Transmit(&huart3, &(h ), 1, 10);
			//USART3->DR = (SenMsg.Senor_ID & (uint16_t)0x01FF);
			//while((USART3->SR & 0x0040) == RESET); //发送完成标志
			HAL_UART_Transmit(&huart3, &(SenMsg.Senor_ID ), 1, 10);
			h = CV_Value[0]>>8;
			//USART3->DR = (h & (uint16_t)0x01FF);
			//while((USART3->SR & 0x0040) == RESET); //发送完成标志
			HAL_UART_Transmit(&huart3, &(h ), 1, 10);
     h = CV_Value[0];
			//USART3->DR = (CV_Value[0] & (uint16_t)0x01FF);
			//while((USART3->SR & 0x0040) == RESET); //发送完成标志
			HAL_UART_Transmit(&huart3, &(h), 1, 10);
			m = CV_Value[1]>>8;
			//USART3->DR = (m & (uint16_t)0x01FF);
			//while((USART3->SR & 0x0040) == RESET); //发送完成标志

			HAL_UART_Transmit(&huart3, &(m ), 1, 10);
			//USART3->DR = (CV_Value[1] & (uint16_t)0x01FF);
			//while((USART3->SR & 0x0040) == RESET); //发送完成标志
			h = CV_Value[1];
			HAL_UART_Transmit(&huart3, &(h), 1, 10);
			v = 0x00>>8;
			//USART3->DR = (v & (uint16_t)0x01FF);
			//while((USART3->SR & 0x0040) == RESET); //发送完成标志
			HAL_UART_Transmit(&huart3, &(v ), 1, 10);

			//USART3->DR = (0x00 & (uint16_t)0x01FF);
			//while((USART3->SR & 0x0040) == RESET); //发送完成标?
			v=0;;
			HAL_UART_Transmit(&huart3, &(v ), 1, 10);
		//	USART3->DR = (0x00 & (uint16_t)0x01FF);
			//while((USART3->SR & 0x0040) == RESET); //发送完成标?
			HAL_UART_Transmit(&huart3, &(v ), 1, 10);
			//USART3->DR = (0x00 & (uint16_t)0x01FF);
			//while((USART3->SR & 0x0040) == RESET); //发送完成标志
			HAL_UART_Transmit(&huart3, &(v ), 1, 10);
			CV_Value[4]=Battery_Monitor();
			p = CV_Value[4];
			//USART3->DR = (p & (uint16_t)0x01FF);
			//while((USART3->SR & 0x0040) == RESET); //发送完成标志
			HAL_UART_Transmit(&huart3, &(p ), 1, 10);
			//USART3->DR = (0xf0 & (uint16_t)0x01FF);
			//while((USART3->SR & 0x0040) == RESET); //发送完成标志
			v=0xf0;
			HAL_UART_Transmit(&huart3, &(v ), 1, 10);
			//USART3->DR = (0xE7 & (uint16_t)0x01FF);
			//while((USART3->SR & 0x0040) == RESET); //发送完成标?
			v=0xE7;
			HAL_UART_Transmit(&huart3, &(v ), 1, 10);
}

//发送配置信息
void CC1110_Senddd(void)
{
    uint8_t co,idh,idl,pz,xd,fc;

			co = 0xC0;
			//USART3->DR = (co & (uint16_t)0x01FF);
			//while((USART3->SR & 0x0040) == RESET); //发送完成标志
			HAL_UART_Transmit(&huart3, &(co ), 1, 10);
			idh = 0x00;
			//USART3->DR = (idh & (uint16_t)0x01FF);
			//while((USART3->SR & 0x0040) == RESET); //发送完成标志
			HAL_UART_Transmit(&huart3, &(idh ), 1, 10);
			idl = SenMsg.Senor_ID;
			//USART3->DR = (idl & (uint16_t)0x01FF);
			//while((USART3->SR & 0x0040) == RESET); //发送完成标志
	      		HAL_UART_Transmit(&huart3, &(idl ), 1, 10);
			pz = 0x18;
			//USART3->DR = (pz & (uint16_t)0x01FF);
			//while((USART3->SR & 0x0040) == RESET); //发送完成标志
			HAL_UART_Transmit(&huart3, &(pz ), 1, 10);
			xd = SenMsg.Senor_ID;
			//USART3->DR = (xd & (uint16_t)0x01FF);
			//while((USART3->SR & 0x0040) == RESET); //发送完成标志
			HAL_UART_Transmit(&huart3, &(xd ), 1, 10);
			fc = 0xFC;
			//USART3->DR = (fc & (uint16_t)0x01FF);
			//while((USART3->SR & 0x0040) == RESET); //发送完成标志
			HAL_UART_Transmit(&huart3, &(fc ), 1, 10);
}
void CC1110_Sendbianhao(void)
{
 uint8_t tmp;
			Flash_Write_Buff[0]=0x000000AA;
			Flash_Write_Buff[1]=newid;
			Flash_Write_Buff[2]=0x11;
			Flash_Write_Buff[3]=0x00000055;
			FLASH_Write(((uint32_t)0x08080000),((uint32_t)0x08080010),Flash_Write_Buff);

			FLASH_Read(((uint32_t)0x08080000),((uint32_t)0x08080010),Flash_Read_Buff);
			if(*Flash_Read_Buff==0x000000AA&&*(Flash_Read_Buff+3)==0x00000055)
			{
					SenMsg.Senor_ID=*(Flash_Read_Buff+1);
			}
			tmp = 0x1D;
			//USART3->DR = (0x1D & (uint16_t)0x01FF);
			//while((USART3->SR & 0x0040) == RESET); //发送完成标志
			HAL_UART_Transmit(&huart3, &(tmp ), 1, 10);
			tmp = SenMsg.Senor_ID;
			//USART3->DR = (SenMsg.Senor_ID & (uint16_t)0x01FF);
			//while((USART3->SR & 0x0040) == RESET); //发送完成标志
			HAL_UART_Transmit(&huart3, &(tmp ), 1, 10);

}

//void CC1110_Sendnum(void)
//{
//      int i,h,m,p,q,v,f,g,l;
//	    k++;
//
//////      SPI_Configuration();
//////		 Select_OLED
//////
//////		 LCD_Init();
//////		 LCD_CLS();
//////		 LCD_P16x16Ch(36,0,2,fd2);
//////delay_ms(200);delay_ms(200);delay_ms(200);delay_ms(200);delay_ms(200);delay_ms(200);

////delay_ms(200);delay_ms(200);delay_ms(200);delay_ms(200);
//	    Flash_Write_Buff[0]=0x000000AA;
//			Flash_Write_Buff[1]=newid;
//			Flash_Write_Buff[2]=0x11;
//			Flash_Write_Buff[3]=0x00000055;
//			FLASH_Write(((uint32_t)0x08080000),((uint32_t)0x08080010),Flash_Write_Buff);
//
//			FLASH_Read(((uint32_t)0x08080000),((uint32_t)0x08080010),Flash_Read_Buff);
//			if(*Flash_Read_Buff==0x000000AA&&*(Flash_Read_Buff+3)==0x00000055)
//			{
//					SenMsg.Senor_ID=*(Flash_Read_Buff+1);
//			}
//			FLASH_Read(((uint32_t)0x08080000),((uint32_t)0x08080010),Flash_Read_Buff);
//			FLASH_Read(((uint32_t)0x08080020),((uint32_t)0x08080030),CV_Value);
//
//			//AD_Smapling_Function(&SenMsg);

//      FLASH_Read(((uint32_t)0x08080040),((uint32_t)0x08080050),ID_Read_Buff);
//			USART3->DR = (*ID_Read_Buff & (uint16_t)0x01FF);
//			while((USART3->SR & 0x0040) == RESET); //发送完成标志

//			USART3->DR = (*(ID_Read_Buff+1) & (uint16_t)0x01FF);
//			while((USART3->SR & 0x0040) == RESET); //发送完成标志
//
//			USART3->DR = (*(ID_Read_Buff+2) & (uint16_t)0x01FF);
//			while((USART3->SR & 0x0040) == RESET); //发送完成标志
//
//			USART3->DR = (*(ID_Read_Buff+3) & (uint16_t)0x01FF);
//			while((USART3->SR & 0x0040) == RESET); //发送完成标志
//
//			USART3->DR = (SenMsg.Senor_ID & (uint16_t)0x01FF);
//			while((USART3->SR & 0x0040) == RESET); //发送完成标志
//
//			USART3->DR = (0xD1 & (uint16_t)0x01FF);
//			while((USART3->SR & 0x0040) == RESET); //发送完成标志
//			USART3->DR = (0xD2 & (uint16_t)0x01FF);
//			while((USART3->SR & 0x0040) == RESET); //发送完成标志
//			USART3->DR = (0xD3 & (uint16_t)0x01FF);
//			while((USART3->SR & 0x0040) == RESET); //发送完成标志
//			USART3->DR = (0xD4 & (uint16_t)0x01FF);
//			while((USART3->SR & 0x0040) == RESET); //发送完成标志
//			USART3->DR = (0xD5 & (uint16_t)0x01FF);
//			while((USART3->SR & 0x0040) == RESET); //发送完成标志
//			USART3->DR = (0xD6 & (uint16_t)0x01FF);
//			while((USART3->SR & 0x0040) == RESET); //发送完成标志
//			USART3->DR = (0xD7 & (uint16_t)0x01FF);
//			while((USART3->SR & 0x0040) == RESET); //发送完成标志
//			USART3->DR = (0xD8 & (uint16_t)0x01FF);
//			while((USART3->SR & 0x0040) == RESET); //发送完成标志
//			USART3->DR = (0xD9 & (uint16_t)0x01FF);
//			while((USART3->SR & 0x0040) == RESET); //发送完成标志
//
//
//			USART3->DR = (0xf9 & (uint16_t)0x01FF);
//			while((USART3->SR & 0x0040) == RESET); //发送完成标志

//			USART3->DR = (0xE7 & (uint16_t)0x01FF);
//			while((USART3->SR & 0x0040) == RESET); //发送完成标志
//}

/* USER CODE END 4 */

void Error_Handler(void)
{
}

/************************ (C) COPYRIGHT STMicroelectronics *****END OF FILE****/
